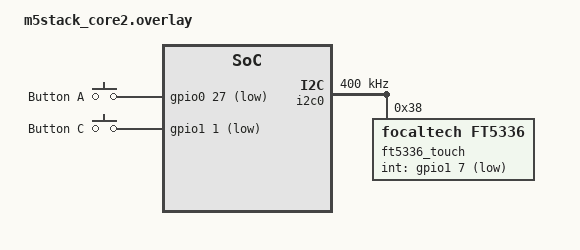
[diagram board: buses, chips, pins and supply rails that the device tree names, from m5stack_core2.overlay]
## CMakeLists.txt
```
cmake_minimum_required(VERSION 3.20.0)

find_package(Zephyr REQUIRED HINTS $ENV{ZEPHYR_BASE})
project(visual)

target_sources(app PRIVATE src/main.c src/wifi.c src/ui.c src/vibration.c)
```

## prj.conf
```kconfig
CONFIG_MAIN_STACK_SIZE=4096
CONFIG_LOG=y
CONFIG_LOG_DEFAULT_LEVEL=2

CONFIG_REBOOT=y
CONFIG_LVGL=y
CONFIG_LV_CONF_MINIMAL=n
CONFIG_LV_Z_MEM_POOL_SIZE=20000
CONFIG_LV_COLOR_DEPTH_16=y
CONFIG_LV_FONT_MONTSERRAT_20=y
CONFIG_LV_FONT_MONTSERRAT_12=y

CONFIG_DISPLAY=y

# Input/touchscreen configuration
CONFIG_INPUT=y
CONFIG_I2C=y
CONFIG_INPUT_FT5336=y
CONFIG_LV_Z_POINTER_INPUT=y


# Threading support
# CONFIG_THREAD_NAME=y
# CONFIG_THREAD_MONITOR=y
# CONFIG_THREAD_STACK_INFO=y
# CONFIG_THREAD_CUSTOM_DATA=y

# Regulator support for vibration motor control
CONFIG_REGULATOR=y

# Networking
CONFIG_NETWORKING=y
CONFIG_NET_NATIVE=y
CONFIG_NET_IPV4=y
CONFIG_NET_IPV6=y
CONFIG_NET_TCP=y
CONFIG_NET_UDP=y
CONFIG_NET_ARP=y
CONFIG_NET_DHCPV4=y 
CONFIG_NET_SOCKETS=y
# CONFIG_NET_SHELL=y
CONFIG_DNS_RESOLVER=y
CONFIG_NET_MGMT_EVENT_INFO=y
CONFIG_NET_CONFIG_INIT_TIMEOUT=30
CONFIG_NET_L2_ETHERNET=y


# Wi-Fi
CONFIG_WIFI=y
CONFIG_WIFI_ESP32=y
# CONFIG_NET_L2_WIFI_SHELL=y
CONFIG_ESP32_WIFI_STA_AUTO_DHCPV4=y
CONFIG_ESP_WIFI_HEAP_SYSTEM=y
CONFIG_HEAP_MEM_POOL_SIZE=45056
CONFIG_JSON_LIBRARY=y
# Logging
CONFIG_LOG_MODE_IMMEDIATE=y
CONFIG_NET_LOG=y
CONFIG_WIFI_LOG_LEVEL_INF=y
```

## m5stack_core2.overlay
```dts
/ {
    aliases {
        sw0 = &button_a;
        sw2 = &button_c;
    };

    gpio_keys {
        compatible = "gpio-keys";
        button_a: button_a {
            gpios = <&gpio0 27 (GPIO_ACTIVE_LOW | GPIO_PULL_UP)>;
            label = "Button A";
        };
        button_c: button_c {
            gpios = <&gpio1 1 (GPIO_ACTIVE_LOW | GPIO_PULL_UP)>; /* GPIO33 */
            label = "Button C";
        };
    };
    
    /* Add LVGL pointer input binding for the touchscreen */
    lvgl_pointer {
        compatible = "zephyr,lvgl-pointer-input";
        input = <&ft5336_touch>;
        swap-xy;
    };
}; 

/* Enable I2C0 for touchscreen */
&i2c0 {
    status = "okay";
    clock-frequency = <I2C_BITRATE_FAST>;
    
    /* FT5336 touchscreen controller */
    ft5336_touch: ft5336@38 {
        compatible = "focaltech,ft5336";
        reg = <0x38>;
        int-gpios = <&gpio1 7 GPIO_ACTIVE_LOW>;
    };
}; 
```

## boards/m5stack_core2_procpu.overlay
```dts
/*
 * Device tree overlay for M5Stack Core2 visual project
 * Ensures vibration motor (AXP192 LDO3) is properly configured
 */

&vib_motor {
    status = "okay";
}; 
```

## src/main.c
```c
#include <zephyr/kernel.h>
#include <zephyr/device.h>
#include <zephyr/devicetree.h>
#include <zephyr/drivers/display.h>
#include <zephyr/logging/log.h>
#include <zephyr/data/json.h>
#include <zephyr/arch/arch_interface.h>
#include <lvgl.h>
#include <stdio.h>
#include <string.h>
#include "wifi.h"
#include "ui.h"
#include "vibration.h"
#include <zephyr/drivers/regulator.h>

LOG_MODULE_REGISTER(app, CONFIG_LOG_DEFAULT_LEVEL);

#define STACK_SIZE_UI 4096
#define PRIORITY_UI    7
#define STACK_SIZE_WIFI 8192
#define PRIORITY_WIFI    7

// Definitions for Vibration Thread
#define STACK_SIZE_VIBRATION 2048
#define PRIORITY_VIBRATION    6 

// Message queue for sensor data communication between threads
K_MSGQ_DEFINE(sensor_msgq, sizeof(struct sensor_data), 10, 4);

extern const struct device *vibration_regulator;
bool thresholds_exceeded = false;

// Vibration thread components
static struct k_thread vibration_thread_data_obj;
static k_tid_t vibration_thread_handle = NULL;
K_THREAD_STACK_DEFINE(vibration_thread_stack_area, STACK_SIZE_VIBRATION);
static volatile bool stop_vibration_signal_flag = false;

static void vibration_management_thread() {

    while (true) {
        if (stop_vibration_signal_flag) {
            break;
        }

        k_msleep(500);
        regulator_enable(vibration_regulator); // Turn ON
        k_msleep(1000);

        regulator_disable(vibration_regulator); 

        if (stop_vibration_signal_flag) {
            break;
        }
    }

    regulator_disable(vibration_regulator);
}

static void ui_thread()
{
    const struct device *disp = DEVICE_DT_GET(DT_CHOSEN(zephyr_display));
    if (!device_is_ready(disp)) {
        LOG_ERR("Display not ready");
        return;
    }

    ui_init();
    display_blanking_off(disp);

    while (1) {
        struct sensor_data current_sensor_data; // Variable to hold data from queue
        bool new_data_from_queue = false;       // Flag to track if new data was received

        if (k_msgq_get(&sensor_msgq, &current_sensor_data, K_NO_WAIT) == 0) {
            // New data is available, update UI
            ui_env_set_temp(current_sensor_data.temperature);
            ui_env_set_hum(current_sensor_data.humidity);
            ui_env_set_press(current_sensor_data.pressure);
            ui_env_set_tvoc(current_sensor_data.tvoc);
            ui_motion_set_xyz(current_sensor_data.accel_x, current_sensor_data.accel_y, current_sensor_data.accel_z);
            ui_light_set_rgb(current_sensor_data.r, current_sensor_data.g, current_sensor_data.b);
            new_data_from_queue = true;
        }

        thresholds_exceeded = sensor_data_exceeds_thresholds(
                current_sensor_data.temperature, current_sensor_data.humidity, current_sensor_data.pressure,
                current_sensor_data.tvoc, current_sensor_data.accel_x, current_sensor_data.accel_y, current_sensor_data.accel_z,
                current_sensor_data.r, current_sensor_data.g, current_sensor_data.b);

        if (thresholds_exceeded) {
            if (vibration_thread_handle == NULL) {
                stop_vibration_signal_flag = false;
                vibration_thread_handle = k_thread_create(&vibration_thread_data_obj,
                                                 vibration_thread_stack_area,
                                                 STACK_SIZE_VIBRATION,
                                                 vibration_management_thread,
                                                 NULL, NULL, NULL,
                                                 PRIORITY_VIBRATION,
                                                 0, K_NO_WAIT);
                if (vibration_thread_handle == NULL) {
                    LOG_ERR("Failed to create vibration thread");
                } else {
                    k_thread_name_set(vibration_thread_handle, "vibration_mgmt");
                }
            }
        } else { 
            if (vibration_thread_handle != NULL) {
                stop_vibration_signal_flag = true;
                int ret = k_thread_join(vibration_thread_handle, K_MSEC(500));
                if (ret == -EAGAIN) {
                    k_thread_abort(vibration_thread_handle);
                    regulator_disable(vibration_regulator);
                } 
                vibration_thread_handle = NULL;
            }
        }
        
        lv_timer_handler();
        k_msleep(10);
    }
}

static void wifi_thread() {
    char response[1024];
    while (1) {
        int rc = http_get("192.168.0.49", 3000, "/device/AB12", response);
        if (rc) {
            LOG_ERR("HTTP GET failed: %d", rc);
        } else {
            struct sensor_data data;
            int err = json_obj_parse(response, strlen(response),
                                     sensor_descr, ARRAY_SIZE(sensor_descr),
                                     &data);
            if (err < 0) {
                LOG_ERR("JSON parse failed: %d", err);
            } else {
                // LOG_ERR("Parsed data: pressure=%u humidity=%u temperature=%u r=%u g=%u b=%u tvoc=%u accel_x=%d accel_y=%d accel_z=%d",
                //         data.pressure, data.humidity, data.temperature,
                //         data.r, data.g, data.b, data.tvoc,
                //         data.accel_x, data.accel_y, data.accel_z);
                
                // Send sensor data to UI thread via message queue
                if (k_msgq_put(&sensor_msgq, &data, K_NO_WAIT) != 0) {
                    // Queue is full, purge and try again
                    k_msgq_purge(&sensor_msgq);
                    k_msgq_put(&sensor_msgq, &data, K_NO_WAIT);
                }
            }
        }
        k_msleep(5000);
    }
}

static struct k_thread ui_thread_data;
static k_tid_t ui_thread_id;
K_THREAD_STACK_DEFINE(ui_stack , STACK_SIZE_UI);

static struct k_thread wifi_thread_data;
static k_tid_t wifi_thread_id;
K_THREAD_STACK_DEFINE(wifi_stack , STACK_SIZE_WIFI);

int main(void) {
    wifi_init();

    // 2) join your network (blocks until associated)
    int rc = wifi_connect("csse4011", "csse4011wifi");
    if (rc) {
        LOG_ERR("Wi-Fi connect failed: %d", rc);
        return rc;
    }

    // 3) wait until you actually get an IP
    wifi_wait_for_ip_addr();
    vibration_init();
    

    ui_thread_id = k_thread_create(&ui_thread_data,
                                 ui_stack,
                                 STACK_SIZE_UI,
                                 ui_thread,
                                 NULL,
                                 NULL,
                                 NULL,
                                 PRIORITY_UI,
                                 0,
                                 K_NO_WAIT);
    if (ui_thread_id == NULL) {
        LOG_ERR("Failed to create UI thread");
        return -ENOMEM;
    }

    wifi_thread_id = k_thread_create(&wifi_thread_data,
                                 wifi_stack,
                                 STACK_SIZE_WIFI,
                                 wifi_thread,
                                 NULL,
                                 NULL,
                                 NULL,
                                 PRIORITY_WIFI,
                                 0,
                                 K_NO_WAIT);
    if (wifi_thread_id == NULL) {
        LOG_ERR("Failed to create WIFI thread");
        return -ENOMEM;
    }

    return 0;
}
```

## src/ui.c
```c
#include <zephyr/kernel.h>
#include <lvgl.h>
#include <stdio.h>
#include "ui.h"

static lv_style_t style_tile;
static lv_style_t style_card;
static lv_style_t style_text_large;
static lv_style_t style_text_small;
static lv_style_t style_bar;

#define COL_BG      lv_color_make(0xF0, 0xF0, 0xF0)
#define COL_CARD    lv_color_make(0xFF, 0xFF, 0xFF)
#define COL_TEXT    lv_color_make(0x30, 0x30, 0x30)

#define COL_BLUE    lv_color_make(0xA0, 0xC0, 0xE0)
#define COL_PINK    lv_color_make(0xFF, 0xB0, 0xC0)
#define COL_GREEN   lv_color_make(0xC0, 0xE0, 0xC0)
#define COL_ORANGE  lv_color_make(0xFF, 0xD0, 0xB0)

#define COL_RED     lv_color_make(0xFF, 0x80, 0x80)
#define COL_GRN     lv_color_make(0x80, 0xFF, 0x80)
#define COL_BLU     lv_color_make(0x80, 0x80, 0xFF)

static void create_environment_tile(lv_obj_t *parent);
static void create_motion_tile(lv_obj_t *parent);
static void create_light_tile(lv_obj_t *parent);

#define NUM_TILES      3
#define DEBOUNCE_MS    50

lv_obj_t *tileview;
static lv_obj_t *tap_btn;
uint8_t   current_tile;
static uint32_t  last_click_ms;

K_SEM_DEFINE(screen_tap_sem, 1, 1);

static void screen_tap_cb(lv_event_t *e)
{
    if (k_sem_take(&screen_tap_sem, K_NO_WAIT) != 0) {
        return;
    }

    uint32_t now = lv_tick_get();
    if (now - last_click_ms < DEBOUNCE_MS) {
        k_sem_give(&screen_tap_sem);
        return;
    }
    last_click_ms = now;

    current_tile = (current_tile + 1) % NUM_TILES;
    lv_tileview_set_tile_by_index(tileview, current_tile, 0, LV_ANIM_OFF);

    lv_obj_move_foreground(tap_btn);
    
    k_sem_give(&screen_tap_sem);
}

void ui_init(void)
{
    lv_style_init(&style_tile);
    lv_style_set_bg_color(&style_tile, COL_BG);
    lv_style_set_pad_all(&style_tile, 12);

    lv_style_init(&style_card);
    lv_style_set_bg_color(&style_card, COL_CARD);
    lv_style_set_radius(&style_card, 8);
    lv_style_set_pad_all(&style_card, 10);
    lv_style_set_shadow_width(&style_card, 4);
    lv_style_set_shadow_opa(&style_card, LV_OPA_20);

    lv_style_init(&style_text_large);
    lv_style_set_text_color(&style_text_large, COL_TEXT);
    lv_style_set_text_font(&style_text_large, &lv_font_montserrat_20);

    lv_style_init(&style_text_small);
    lv_style_set_text_color(&style_text_small, COL_TEXT);
    lv_style_set_text_font(&style_text_small, &lv_font_montserrat_12);

    lv_style_init(&style_bar);
    lv_style_set_bg_color(&style_bar, lv_color_make(0xE0, 0xE0, 0xE0));
    lv_style_set_radius(&style_bar, 4);

    tileview = lv_tileview_create(lv_scr_act());
    lv_obj_add_style(tileview, &style_tile, 0);
    lv_obj_clear_flag(tileview, LV_OBJ_FLAG_SCROLL_ELASTIC);

    lv_obj_t *tile_env = lv_tileview_add_tile(tileview, 0, 0, LV_DIR_HOR | LV_DIR_VER);
    create_environment_tile(tile_env);

    lv_obj_t *tile_motion = lv_tileview_add_tile(tileview, 1, 0, LV_DIR_HOR | LV_DIR_VER);
    create_motion_tile(tile_motion);

    lv_obj_t *tile_ls = lv_tileview_add_tile(tileview, 2, 0, LV_DIR_HOR | LV_DIR_VER);
    create_light_tile(tile_ls);

    current_tile = 0;
    last_click_ms = 0;

    tap_btn = lv_btn_create(lv_scr_act());
    lv_obj_remove_style_all(tap_btn);
    lv_obj_set_size(tap_btn, lv_disp_get_hor_res(NULL), lv_disp_get_ver_res(NULL));
    lv_obj_center(tap_btn);
    lv_obj_add_event_cb(tap_btn, screen_tap_cb, LV_EVENT_CLICKED, NULL);
    lv_obj_set_style_bg_opa(tap_btn, LV_OPA_TRANSP, 0);
    lv_obj_move_foreground(tap_btn); 
}

static lv_obj_t *make_card(lv_obj_t *parent, lv_color_t border_color)
{
    lv_obj_t *card = lv_obj_create(parent);
    lv_obj_add_style(card, &style_card, 0);
    lv_obj_set_style_border_color(card, border_color, 0);
    lv_obj_set_style_border_width(card, 2, 0);
    lv_obj_set_size(card, LV_PCT(100), LV_PCT(100));
    lv_obj_clear_flag(card, LV_OBJ_FLAG_SCROLLABLE);
    return card;
}

static lv_obj_t* create_simple_value_block(lv_obj_t *card, const char *icon, const char *unit)
{
    lv_obj_set_flex_flow(card, LV_FLEX_FLOW_COLUMN);
    lv_obj_set_flex_align(card, LV_FLEX_ALIGN_CENTER, LV_FLEX_ALIGN_CENTER, LV_FLEX_ALIGN_CENTER);

    lv_obj_t *icon_lbl = lv_label_create(card);
    lv_obj_add_style(icon_lbl, &style_text_small, 0);
    lv_label_set_text(icon_lbl, icon);

    lv_obj_t *val_lbl = lv_label_create(card);
    lv_obj_add_style(val_lbl, &style_text_large, 0);
    char combined_text[32];
    snprintf(combined_text, sizeof(combined_text), "-- %s", unit);
    lv_label_set_text(val_lbl, combined_text);
    
    return val_lbl;
}

static lv_obj_t *temp_value_lbl = NULL;
static lv_obj_t *hum_value_lbl = NULL;
static lv_obj_t *press_value_lbl = NULL;
static lv_obj_t *tvoc_value_lbl = NULL;
static lv_obj_t *accel_x_lbl = NULL;
static lv_obj_t *accel_y_lbl = NULL;
static lv_obj_t *accel_z_lbl = NULL;
static lv_obj_t *accel_mag_bar = NULL;
static lv_obj_t *rgb_r_lbl = NULL;
static lv_obj_t *rgb_g_lbl = NULL;
static lv_obj_t *rgb_b_lbl = NULL;

static void create_environment_tile(lv_obj_t *parent)
{
    static lv_coord_t col_dsc[] = {LV_GRID_FR(1), LV_GRID_FR(1), LV_GRID_TEMPLATE_LAST};
    static lv_coord_t row_dsc[] = {LV_GRID_FR(1), LV_GRID_FR(1), LV_GRID_TEMPLATE_LAST};
    lv_obj_set_grid_dsc_array(parent, col_dsc, row_dsc);
    
    lv_obj_set_style_pad_all(parent, 8, 0);
    lv_obj_set_style_pad_gap(parent, 6, 0);
    lv_obj_clear_flag(parent, LV_OBJ_FLAG_SCROLLABLE);

    lv_obj_t *temp_card = make_card(parent, COL_BLUE);
    lv_obj_set_grid_cell(temp_card, LV_GRID_ALIGN_STRETCH, 0, 1, LV_GRID_ALIGN_STRETCH, 0, 1);
    temp_value_lbl = create_simple_value_block(temp_card, LV_SYMBOL_HOME, "°C");

    lv_obj_t *hum_card = make_card(parent, COL_PINK);
    lv_obj_set_grid_cell(hum_card, LV_GRID_ALIGN_STRETCH, 1, 1, LV_GRID_ALIGN_STRETCH, 0, 1);
    hum_value_lbl = create_simple_value_block(hum_card, LV_SYMBOL_TINT, "%RH");

    lv_obj_t *pres_card = make_card(parent, COL_GREEN);
    lv_obj_set_grid_cell(pres_card, LV_GRID_ALIGN_STRETCH, 0, 1, LV_GRID_ALIGN_STRETCH, 1, 1);
    press_value_lbl = create_simple_value_block(pres_card, LV_SYMBOL_UPLOAD, "hPa");

    lv_obj_t *tvoc_card = make_card(parent, COL_ORANGE);
    lv_obj_set_grid_cell(tvoc_card, LV_GRID_ALIGN_STRETCH, 1, 1, LV_GRID_ALIGN_STRETCH, 1, 1);
    tvoc_value_lbl = create_simple_value_block(tvoc_card, LV_SYMBOL_WARNING, "ppb");
}

static void create_motion_tile(lv_obj_t *parent)
{
    lv_obj_set_flex_flow(parent, LV_FLEX_FLOW_COLUMN);
    lv_obj_set_flex_align(parent, LV_FLEX_ALIGN_START, LV_FLEX_ALIGN_CENTER, LV_FLEX_ALIGN_CENTER);
    lv_obj_clear_flag(parent, LV_OBJ_FLAG_SCROLLABLE);
    lv_obj_set_style_pad_all(parent, 20, 0);
    
    lv_obj_t *title_lbl = lv_label_create(parent);
    lv_obj_add_style(title_lbl, &style_text_large, 0);
    lv_label_set_text(title_lbl, LV_SYMBOL_GPS " Acceleration");
    
    lv_obj_t *bar_label = lv_label_create(parent);
    lv_obj_add_style(bar_label, &style_text_small, 0);
    lv_label_set_text(bar_label, "Magnitude");
    lv_obj_set_style_pad_top(bar_label, 20, 0);
    
    accel_mag_bar = lv_bar_create(parent);
    lv_obj_add_style(accel_mag_bar, &style_bar, LV_PART_MAIN);
    lv_obj_set_style_bg_color(accel_mag_bar, COL_BLUE, LV_PART_INDICATOR);
    lv_obj_set_size(accel_mag_bar, LV_PCT(80), 20);
    lv_bar_set_range(accel_mag_bar, 0, 20);
    lv_bar_set_value(accel_mag_bar, 0, LV_ANIM_OFF);
    lv_obj_set_style_pad_top(accel_mag_bar, 5, 0);
    lv_obj_set_style_pad_bottom(accel_mag_bar, 30, 0);
    
    lv_obj_t *axes_cont = lv_obj_create(parent);
    lv_obj_remove_style_all(axes_cont);
    lv_obj_set_size(axes_cont, LV_PCT(80), LV_SIZE_CONTENT);
    lv_obj_set_flex_flow(axes_cont, LV_FLEX_FLOW_COLUMN);
    lv_obj_set_flex_align(axes_cont, LV_FLEX_ALIGN_START, LV_FLEX_ALIGN_CENTER, LV_FLEX_ALIGN_CENTER);
    lv_obj_set_style_pad_gap(axes_cont, 10, 0);
    
    const char *axes[] = {"X: -- g", "Y: -- g", "Z: -- g"};
    lv_color_t colors[] = {COL_BLUE, COL_PINK, COL_GREEN};
    lv_obj_t **axis_lbls[] = {&accel_x_lbl, &accel_y_lbl, &accel_z_lbl};
    
    for (int i = 0; i < 3; i++) {
        *axis_lbls[i] = lv_label_create(axes_cont);
        lv_obj_add_style(*axis_lbls[i], &style_text_large, 0);
        lv_obj_set_style_text_color(*axis_lbls[i], colors[i], 0);
        lv_label_set_text(*axis_lbls[i], axes[i]);
    }
}

static void create_light_tile(lv_obj_t *parent)
{
    lv_obj_set_flex_flow(parent, LV_FLEX_FLOW_COLUMN);
    lv_obj_set_flex_align(parent, LV_FLEX_ALIGN_CENTER, LV_FLEX_ALIGN_CENTER, LV_FLEX_ALIGN_CENTER);
    lv_obj_set_style_pad_all(parent, 10, 0);
    lv_obj_clear_flag(parent, LV_OBJ_FLAG_SCROLLABLE);

    lv_obj_t *rgb_card = make_card(parent, COL_BLUE);
    lv_obj_set_width(rgb_card, LV_PCT(95));
    lv_obj_set_height(rgb_card, LV_PCT(85));
    lv_obj_set_flex_flow(rgb_card, LV_FLEX_FLOW_COLUMN);
    lv_obj_set_flex_align(rgb_card, LV_FLEX_ALIGN_CENTER, LV_FLEX_ALIGN_CENTER, LV_FLEX_ALIGN_CENTER);
    
    lv_obj_t *light_icon = lv_label_create(rgb_card);
    lv_obj_add_style(light_icon, &style_text_small, 0);
    lv_label_set_text(light_icon, LV_SYMBOL_EYE_OPEN " RGB Light Sensor");
    
    lv_obj_t *rgb_cont = lv_obj_create(rgb_card);
    lv_obj_remove_style_all(rgb_cont);
    lv_obj_set_size(rgb_cont, LV_PCT(100), LV_SIZE_CONTENT);
    lv_obj_set_flex_flow(rgb_cont, LV_FLEX_FLOW_ROW);
    lv_obj_set_flex_align(rgb_cont, LV_FLEX_ALIGN_SPACE_EVENLY, LV_FLEX_ALIGN_CENTER, LV_FLEX_ALIGN_CENTER);
    lv_obj_set_style_pad_top(rgb_cont, 20, 0);
    
    const char *rgb_text[] = {"R: --", "G: --", "B: --"};
    lv_color_t rgb_colors[] = {COL_RED, COL_GRN, COL_BLU};
    lv_obj_t **rgb_lbls[] = {&rgb_r_lbl, &rgb_g_lbl, &rgb_b_lbl};
    
    for (int i = 0; i < 3; i++) {
        *rgb_lbls[i] = lv_label_create(rgb_cont);
        lv_obj_add_style(*rgb_lbls[i], &style_text_large, 0);
        lv_obj_set_style_text_color(*rgb_lbls[i], rgb_colors[i], 0);
        lv_label_set_text(*rgb_lbls[i], rgb_text[i]);
    }
}

void ui_env_set_temp(uint8_t degC)
{
    if (temp_value_lbl) {
        char text[32];
        snprintf(text, sizeof(text), "%u °C", degC);
        lv_label_set_text(temp_value_lbl, text);
    }
}

void ui_env_set_hum(uint8_t rel_rh)
{
    if (hum_value_lbl) {
        char text[32];
        snprintf(text, sizeof(text), "%u %%RH", rel_rh);
        lv_label_set_text(hum_value_lbl, text);
    }
}

void ui_env_set_press(uint8_t hPa)
{
    if (press_value_lbl) {
        char text[32];
        snprintf(text, sizeof(text), "%u hPa", hPa);
        lv_label_set_text(press_value_lbl, text);
    }
}

void ui_env_set_tvoc(uint16_t ppb)
{
    if (tvoc_value_lbl) {
        char text[32];
        snprintf(text, sizeof(text), "%u ppb", ppb);
        lv_label_set_text(tvoc_value_lbl, text);
    }
}

void ui_motion_set_xyz(int8_t x, int8_t y, int8_t z)
{
    if (accel_x_lbl) {
        char text[32];
        snprintf(text, sizeof(text), "X: %d", x);
        lv_label_set_text(accel_x_lbl, text);
    }
    
    if (accel_y_lbl) {
        char text[32];
        snprintf(text, sizeof(text), "Y: %d", y);
        lv_label_set_text(accel_y_lbl, text);
    }
    
    if (accel_z_lbl) {
        char text[32];
        snprintf(text, sizeof(text), "Z: %d", z);
        lv_label_set_text(accel_z_lbl, text);
    }
    
    if (accel_mag_bar) {
        int mag_squared = (x * x) + (y * y) + (z * z);
        
        int bar_value = mag_squared / 50;
        if (bar_value > 20) bar_value = 20;
        
        lv_bar_set_value(accel_mag_bar, bar_value, LV_ANIM_OFF);
    }
}

void ui_light_set_rgb(uint8_t r, uint8_t g, uint8_t b)
{
    if (rgb_r_lbl) {
        char text[32];
        snprintf(text, sizeof(text), "R: %u", r);
        lv_label_set_text(rgb_r_lbl, text);
    }
    
    if (rgb_g_lbl) {
        char text[32];
        snprintf(text, sizeof(text), "G: %u", g);
        lv_label_set_text(rgb_g_lbl, text);
    }
    
    if (rgb_b_lbl) {
        char text[32];
        snprintf(text, sizeof(text), "B: %u", b);
        lv_label_set_text(rgb_b_lbl, text);
    }
}
```

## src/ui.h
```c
#ifndef UI_H_
#define UI_H_

#include <stdint.h>




void ui_init(void);
void ui_env_set_temp(uint8_t degC);        
void ui_env_set_hum(uint8_t rel_rh);       
void ui_env_set_press(uint8_t hPa);        
void ui_env_set_tvoc(uint16_t ppb);      
void ui_motion_set_xyz(int8_t x,int8_t y,int8_t z);
void ui_light_set_rgb(uint8_t r, uint8_t g, uint8_t b); 

#endif /* UI_H_ */
```

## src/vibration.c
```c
// -----------------------------------------------------------------------------
// vibration.c  —  Vibration motor control for M5Core2 via AXP192 LDO3
// Walter Nedov • May 2025
// -----------------------------------------------------------------------------

#include "vibration.h"
#include <zephyr/kernel.h>
#include <zephyr/device.h>
#include <zephyr/devicetree.h>
#include <zephyr/drivers/regulator.h>

#define VIBRATION_MOTOR_NODE DT_NODELABEL(vib_motor)
const struct device *vibration_regulator = DEVICE_DT_GET(VIBRATION_MOTOR_NODE);

static const struct sensor_thresholds thresholds = {
    .temperature_max = 30,
    .humidity_max = 70,
    .pressure_max = 200,
    .tvoc_max = 400,
    .motion_magnitude_max = 10,
    .light_rgb_max = 200
};

static bool vibration_initialized = false;

int vibration_init(void)
{
    if (!device_is_ready(vibration_regulator)) {
        return -1;
    }
    regulator_disable(vibration_regulator);
    vibration_initialized = true;
    return 0;
}

bool sensor_data_exceeds_thresholds(uint8_t temperature, uint8_t humidity, uint8_t pressure,
                                   uint16_t tvoc, int8_t accel_x, int8_t accel_y, int8_t accel_z,
                                   uint8_t r, uint8_t g, uint8_t b)
{
    if (temperature > thresholds.temperature_max) return true;
    if (humidity > thresholds.humidity_max) return true;
    if (pressure > thresholds.pressure_max) return true;
    if (tvoc > thresholds.tvoc_max) return true;
    
    int motion_squared = (accel_x * accel_x) + (accel_y * accel_y) + (accel_z * accel_z);
    int threshold_squared = thresholds.motion_magnitude_max * thresholds.motion_magnitude_max;
    if (motion_squared > threshold_squared) return true;
    
    if (r > thresholds.light_rgb_max || g > thresholds.light_rgb_max || b > thresholds.light_rgb_max) return true;
    
    return false;
}
```

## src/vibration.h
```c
#ifndef VIBRATION_H_
#define VIBRATION_H_

#include <stdint.h>
#include <stdbool.h>

struct sensor_thresholds {
    uint8_t temperature_max;
    uint8_t humidity_max;
    uint8_t pressure_max;
    uint16_t tvoc_max;
    uint8_t motion_magnitude_max;
    uint8_t light_rgb_max;
};

int vibration_init(void);
bool sensor_data_exceeds_thresholds(uint8_t temperature, uint8_t humidity, uint8_t pressure,
                                   uint16_t tvoc, int8_t accel_x, int8_t accel_y, int8_t accel_z,
                                   uint8_t r, uint8_t g, uint8_t b);


#endif 
```

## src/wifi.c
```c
#include "wifi.h"
#include <zephyr/kernel.h>
#include <zephyr/logging/log.h>
#include <zephyr/net/net_mgmt.h>
#include <zephyr/net/wifi_mgmt.h>
#include <zephyr/net/net_if.h>
#include <zephyr/net/socket.h>
#include <errno.h>
#include <string.h>
#include <stdio.h>

LOG_MODULE_REGISTER(wifi, LOG_LEVEL_INF);

static K_SEM_DEFINE(sem_wifi, 0, 1);
static K_SEM_DEFINE(sem_ipv4, 0, 1);

static struct net_mgmt_event_callback wifi_cb;
static struct net_mgmt_event_callback ipv4_cb;

/**
 * @brief Handler for Wi-Fi connect/disconnect events.
 */
static void on_wifi_connection_event(struct net_mgmt_event_callback *cb,
                                     uint32_t mgmt_event,
                                     struct net_if *iface)
{
    const struct wifi_status *status = cb->info;

    if (mgmt_event == NET_EVENT_WIFI_CONNECT_RESULT) {
        if (status->status) {
            LOG_ERR("Wi-Fi connect failed (%d)", status->status);
        } else {
            LOG_INF("Wi-Fi connected");
            k_sem_give(&sem_wifi);
        }
    } else if (mgmt_event == NET_EVENT_WIFI_DISCONNECT_RESULT) {
        if (status->status) {
            LOG_ERR("Wi-Fi disconnect failed (%d)", status->status);
        } else {
            LOG_INF("Wi-Fi disconnected");
            k_sem_take(&sem_wifi, K_NO_WAIT);
        }
    }
}

/**
 * @brief Handler for IPv4 address assigned event.
 */
static void on_ipv4_obtained(struct net_mgmt_event_callback *cb,
                             uint32_t mgmt_event,
                             struct net_if *iface)
{
    if (mgmt_event == NET_EVENT_IPV4_ADDR_ADD) {
        LOG_INF("IPv4 address assigned");
        k_sem_give(&sem_ipv4);
    }
}

void wifi_init(void)
{
    /* Register Wi-Fi connect/disconnect callback */
    net_mgmt_init_event_callback(&wifi_cb,
                                 on_wifi_connection_event,
                                 NET_EVENT_WIFI_CONNECT_RESULT |
                                 NET_EVENT_WIFI_DISCONNECT_RESULT);
    net_mgmt_add_event_callback(&wifi_cb);

    /* Register IPv4 address assigned callback */
    net_mgmt_init_event_callback(&ipv4_cb,
                                 on_ipv4_obtained,
                                 NET_EVENT_IPV4_ADDR_ADD);
    net_mgmt_add_event_callback(&ipv4_cb);
}

int wifi_connect(const char *ssid, const char *psk)
{
    struct net_if *iface = net_if_get_default();
    if (!iface) {
        LOG_ERR("No default network interface");
        return -ENODEV;
    }

    struct wifi_connect_req_params params = {
        .ssid = (const uint8_t *)ssid,
        .ssid_length = strlen(ssid),
        .psk = (const uint8_t *)psk,
        .psk_length = strlen(psk),
        .security = WIFI_SECURITY_TYPE_PSK,
        .channel = WIFI_CHANNEL_ANY,
        .band = WIFI_FREQ_BAND_2_4_GHZ,
        .mfp = WIFI_MFP_OPTIONAL,
    };

    LOG_INF("Connecting to SSID: %s", ssid);
    int ret = net_mgmt(NET_REQUEST_WIFI_CONNECT,
                       iface, &params,
                       sizeof(params));
    if (ret) {
        LOG_ERR("Connection request failed (%d)", ret);
        return ret;
    }

    /* Wait indefinitely for connection event */
    k_sem_take(&sem_wifi, K_FOREVER);
    return 0;
}

void wifi_wait_for_ip_addr(void)
{
    /* Wait indefinitely for IPv4 address */
    k_sem_take(&sem_ipv4, K_FOREVER);
}

int wifi_disconnect(void)
{
    struct net_if *iface = net_if_get_default();
    if (!iface) {
        return -ENODEV;
    }
    return net_mgmt(NET_REQUEST_WIFI_DISCONNECT, iface, NULL, 0);
}

int http_get(const char *ip, uint16_t port, const char *path, char* response)
{
    int sock, ret;
    struct sockaddr_in addr;
    char request[256];
    char recv_buf[512];

    sock = zsock_socket(AF_INET, SOCK_STREAM, IPPROTO_TCP);
    if (sock < 0) {
        LOG_ERR("Failed to create socket (%d)", sock);
        return sock;
    }

    memset(&addr, 0, sizeof(addr));
    addr.sin_family = AF_INET;
    addr.sin_port = htons(port);
    ret = zsock_inet_pton(AF_INET, ip, &addr.sin_addr);
    if (ret < 0) {
        LOG_ERR("Invalid IPv4 address: %s (%d)", ip, ret);
        zsock_close(sock);
        return ret;
    }

    ret = zsock_connect(sock, (struct sockaddr *)&addr, sizeof(addr));
    if (ret < 0) {
        LOG_ERR("Socket connect failed (%d)", ret);
        zsock_close(sock);
        return ret;
    }

    snprintf(request, sizeof(request),
             "GET %s HTTP/1.1\r\n"
             "Host: %s:%u\r\n"
             "Connection: close\r\n"
             "\r\n", path, ip, port);
    ret = zsock_send(sock, request, strlen(request), 0);
    if (ret < 0) {
        LOG_ERR("Failed to send HTTP request (%d)", ret);
        zsock_close(sock);
        return ret;
    }

    while ((ret = zsock_recv(sock, recv_buf, sizeof(recv_buf) - 1, 0)) > 0) {
        recv_buf[ret] = '\0';
        char *line = strtok(recv_buf, "\r\n");
        char *last_line = NULL;
        
        while (line != NULL) {
            last_line = line;
            line = strtok(NULL, "\r\n");
        }
        
        if (last_line != NULL) {
            strcpy(response, last_line);
        }
    }

    if (ret < 0) {
        LOG_ERR("HTTP recv failed (%d)", ret);
    }

    zsock_close(sock);

    return (ret < 0) ? ret : 0;
}
```

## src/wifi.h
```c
#ifndef WIFI_H
#define WIFI_H

#include <zephyr/kernel.h>
#include <stdint.h>
#include <zephyr/data/json.h>

/**
 * @brief Initialize Wi-Fi management event callbacks.
 */
void wifi_init(void);

/**
 * @brief Connect to a Wi-Fi network (blocking until association).
 *
 * @param ssid Null-terminated SSID string.
 * @param psk  Null-terminated pre-shared key string.
 * @return 0 on success, negative error code on failure.
 */
int wifi_connect(const char *ssid, const char *psk);

/**
 * @brief Block until an IPv4 address is obtained.
 */
void wifi_wait_for_ip_addr(void);

/**
 * @brief Disconnect from the current Wi-Fi network.
 *
 * @return 0 on success, negative error code on failure.
 */
int wifi_disconnect(void);

/**
 * @brief Perform a basic HTTP GET to the given IP, port and path, and log the JSON response.
 *
 * @param ip   Null-terminated IPv4 address string.
 * @param port Port number in host byte order.
 * @param path Null-terminated HTTP path (must start with '/').
 * @return    0 on success, negative error code on failure.
 */
int http_get(const char *ip, uint16_t port, const char *path, char* response);

// Structure to hold parsed sensor data
struct sensor_data {
    char *uuid;
    uint64_t timestamp;
    uint8_t pressure;
    uint8_t humidity;
    uint8_t temperature;
    uint8_t r;
    uint8_t g;
    uint8_t b;
    uint16_t tvoc;
    int8_t accel_x;
    int8_t accel_y;
    int8_t accel_z;
};

// JSON descriptor for sensor_data
static const struct json_obj_descr sensor_descr[] = {
    JSON_OBJ_DESCR_PRIM(struct sensor_data, uuid, JSON_TOK_STRING),
    JSON_OBJ_DESCR_PRIM(struct sensor_data, timestamp, JSON_TOK_UINT64),
    JSON_OBJ_DESCR_PRIM(struct sensor_data, pressure,  JSON_TOK_NUMBER),
    JSON_OBJ_DESCR_PRIM(struct sensor_data, humidity,  JSON_TOK_NUMBER),
    JSON_OBJ_DESCR_PRIM(struct sensor_data, temperature, JSON_TOK_NUMBER),
    JSON_OBJ_DESCR_PRIM(struct sensor_data, r,         JSON_TOK_NUMBER),
    JSON_OBJ_DESCR_PRIM(struct sensor_data, g,         JSON_TOK_NUMBER),
    JSON_OBJ_DESCR_PRIM(struct sensor_data, b,         JSON_TOK_NUMBER),
    JSON_OBJ_DESCR_PRIM(struct sensor_data, tvoc,      JSON_TOK_NUMBER),
    JSON_OBJ_DESCR_PRIM(struct sensor_data, accel_x,   JSON_TOK_NUMBER),
    JSON_OBJ_DESCR_PRIM(struct sensor_data, accel_y,   JSON_TOK_NUMBER),
    JSON_OBJ_DESCR_PRIM(struct sensor_data, accel_z,   JSON_TOK_NUMBER),
};

#endif /* WIFI_H */
```
